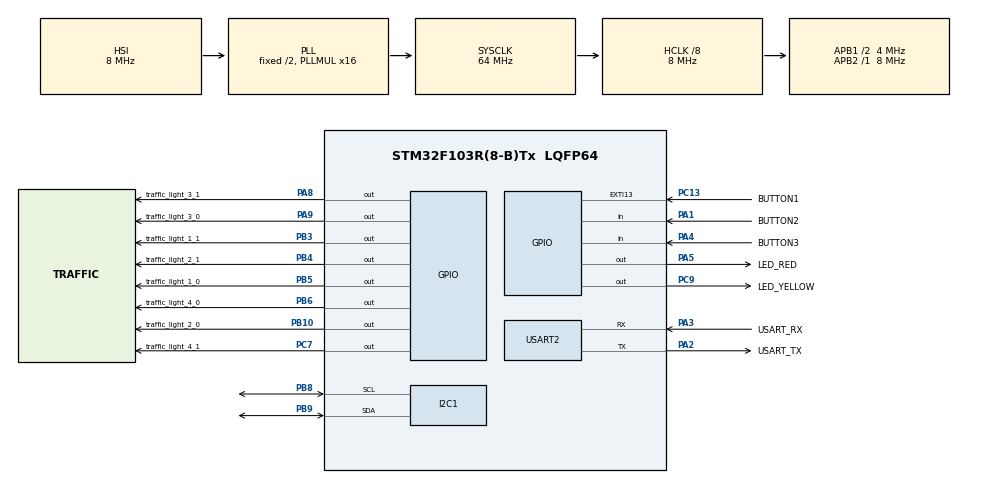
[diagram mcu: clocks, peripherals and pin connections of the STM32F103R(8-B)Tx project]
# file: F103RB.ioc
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Mcu.Family=STM32F1
Mcu.Name=STM32F103R(8-B)Tx
Mcu.Package=LQFP64
NVIC.EXTI15_10_IRQn=true\:0\:0\:false\:false\:true\:true\:true
NVIC.I2C1_ER_IRQn=true\:0\:0\:false\:false\:true\:true\:true
NVIC.I2C1_EV_IRQn=true\:0\:0\:false\:false\:true\:true\:true
NVIC.PriorityGroup=NVIC_PRIORITYGROUP_4
NVIC.TIM2_IRQn=true\:0\:0\:false\:false\:true\:true\:true
PA1.GPIO_Label=BUTTON2
PA1.GPIO_PuPd=GPIO_PULLUP
PA1.Signal=GPIO_Input
PA13.GPIO_Label=TMS
PA13.Mode=Serial_Wire
PA13.Signal=SYS_JTMS-SWDIO
PA14.GPIO_Label=TCK
PA14.Mode=Serial_Wire
PA14.Signal=SYS_JTCK-SWCLK
PA2.GPIO_Label=USART_TX
PA2.GPIO_Mode=GPIO_MODE_AF_PP
PA2.GPIO_PuPd=GPIO_NOPULL
PA2.GPIO_Speed=GPIO_SPEED_FREQ_LOW
PA2.Mode=Asynchronous
PA2.Signal=USART2_TX
PA3.GPIO_Label=USART_RX
PA3.GPIO_Mode=GPIO_MODE_AF_PP
PA3.GPIO_PuPd=GPIO_NOPULL
PA3.GPIO_Speed=GPIO_SPEED_FREQ_LOW
PA3.Mode=Asynchronous
PA3.Signal=USART2_RX
PA4.GPIO_Label=BUTTON3
PA4.GPIO_PuPd=GPIO_PULLUP
PA4.Signal=GPIO_Input
PA5.GPIO_Label=LED_RED
PA5.GPIO_ModeDefaultOutputPP=GPIO_MODE_OUTPUT_PP
PA5.GPIO_PuPd=GPIO_NOPULL
PA5.GPIO_Speed=GPIO_SPEED_FREQ_LOW
PA5.Signal=GPIO_Output
PA8.GPIO_Label=traffic_light_3_1
PA8.Signal=GPIO_Output
PA9.GPIO_Label=traffic_light_3_0
PA9.Signal=GPIO_Output
PB10.GPIO_Label=traffic_light_2_0
PB10.Signal=GPIO_Output
PB3.GPIO_Label=traffic_light_1_1
PB3.Signal=GPIO_Output
PB4.GPIO_Label=traffic_light_2_1
PB4.Signal=GPIO_Output
PB5.GPIO_Label=traffic_light_1_0
PB5.Signal=GPIO_Output
PB6.GPIO_Label=traffic_light_4_0
PB6.Signal=GPIO_Output
PB8.Mode=I2C
PB8.Signal=I2C1_SCL
PB9.Mode=I2C
PB9.Signal=I2C1_SDA
PC13-TAMPER-RTC.GPIO_Label=BUTTON1
PC13-TAMPER-RTC.GPIO_PuPd=GPIO_PULLUP
PC13-TAMPER-RTC.Signal=GPXTI13
PC14-OSC32_IN.Mode=LSE-External-Oscillator
PC14-OSC32_IN.Signal=RCC_OSC32_IN
PC15-OSC32_OUT.Mode=LSE-External-Oscillator
PC15-OSC32_OUT.Signal=RCC_OSC32_OUT
PC7.GPIO_Label=traffic_light_4_1
PC7.Signal=GPIO_Output
PC9.GPIO_Label=LED_YELLOW
PC9.Signal=GPIO_Output
PD0-OSC_IN.Mode=HSE-External-Clock-Source
PD0-OSC_IN.Signal=RCC_OSC_IN
PD1-OSC_OUT.Mode=HSE-External-Clock-Source
PD1-OSC_OUT.Signal=RCC_OSC_OUT
ProjectManager.HeapSize=0x200
ProjectManager.StackSize=0x400
ProjectManager.TargetToolchain=STM32CubeIDE
RCC.AHBCLKDivider=RCC_SYSCLK_DIV8
RCC.AHBFreq_Value=8000000
RCC.APB1CLKDivider=RCC_HCLK_DIV2
RCC.APB1Freq_Value=4000000
RCC.APB1TimFreq_Value=8000000
RCC.APB2Freq_Value=8000000
RCC.APB2TimFreq_Value=8000000
RCC.HCLKFreq_Value=8000000
RCC.PLLMUL=RCC_PLL_MUL16
RCC.RTCClockSelection=RCC_RTCCLKSOURCE_LSE
RCC.SYSCLKFreq_VALUE=64000000
RCC.SYSCLKSource=RCC_SYSCLKSOURCE_PLLCLK
RCC.USBFreq_Value=64000000
TIM2.Period=9
TIM2.Prescaler=7999
USART2.VirtualMode=VM_ASYNC
VP_TIM2_VS_ClockSourceINT.Mode=Internal
board=NUCLEO-F103RB

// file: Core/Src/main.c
/* USER CODE BEGIN Header */
/**
  ******************************************************************************
  * @file           : main.c
  * @brief          : Main program body
  ******************************************************************************
  * @attention
  *
  * <h2><center>&copy; Copyright (c) 2024 STMicroelectronics.
  * All rights reserved.</center></h2>
  *
  * This software component is licensed by ST under BSD 3-Clause license,
  * the "License"; You may not use this file except in compliance with the
  * License. You may obtain a copy of the License at:
  *                        opensource.org/licenses/BSD-3-Clause
  *
  ******************************************************************************
  */
/* USER CODE END Header */
#include "main.h"

/* USER CODE BEGIN Includes */
#include "global.h"
#include "scheduler.h"
#include "timer.h"
#include "button.h"
#include "i2c-lcd.h"
#include "display_time.h"
#include "light_traffic.h"
#include "fsm_automatic.h"
#include "fsm_edit.h"
#include "fsm_manual.h"
#include "fsm_save_value.h"
#include "fsm_setting.h"
/* USER CODE END Includes */

I2C_HandleTypeDef hi2c1;

TIM_HandleTypeDef htim2;

UART_HandleTypeDef huart2;

void SystemClock_Config(void);
static void MX_GPIO_Init(void);
static void MX_USART2_UART_Init(void);
static void MX_TIM2_Init(void);
static void MX_I2C1_Init(void);

int main(void)
{

  /* MCU Configuration--------------------------------------------------------*/

  /* Reset of all peripherals, Initializes the Flash interface and the Systick. */
  HAL_Init();

  /* Configure the system clock */
  SystemClock_Config();

  /* Initialize all configured peripherals */
  MX_GPIO_Init();
  MX_USART2_UART_Init();
  MX_TIM2_Init();
  MX_I2C1_Init();
  /* USER CODE BEGIN 2 */
HAL_TIM_Base_Start_IT(&htim2);
  /* USER CODE END 2 */

  /* Infinite loop */
  /* USER CODE BEGIN WHILE */
// Khởi tạo LCD
   lcd_init();
   lcd_clear_display();  // Xóa màn hình LCD
   // Hiển thị thông tin lên LCD

   SCH_Add_Task(blinky_led, 100, 100);
   SCH_Add_Task(fsm_automatic_run, 100, 100);
   SCH_Add_Task(fsm_edit_run, 100, 100);
   SCH_Add_Task(fsm_manual_run, 100, 100);
   SCH_Add_Task(fsm_save_value_run, 100, 100);
   SCH_Add_Task(fsm_setting_run, 100, 100);

  while (1)
  {
	  SCH_Dispatch_Tasks();

    /* USER CODE END WHILE */

  }
}

void SystemClock_Config(void)
{
  RCC_OscInitTypeDef RCC_OscInitStruct = {0};
  RCC_ClkInitTypeDef RCC_ClkInitStruct = {0};

  /** Initializes the RCC Oscillators according to the specified parameters
  * in the RCC_OscInitTypeDef structure.
  */
  RCC_OscInitStruct.OscillatorType = RCC_OSCILLATORTYPE_HSI;
  RCC_OscInitStruct.HSIState = RCC_HSI_ON;
  RCC_OscInitStruct.HSICalibrationValue = RCC_HSICALIBRATION_DEFAULT;
  RCC_OscInitStruct.PLL.PLLState = RCC_PLL_ON;
  RCC_OscInitStruct.PLL.PLLSource = RCC_PLLSOURCE_HSI_DIV2;
  RCC_OscInitStruct.PLL.PLLMUL = RCC_PLL_MUL16;
  if (HAL_RCC_OscConfig(&RCC_OscInitStruct) != HAL_OK)
  {
    Error_Handler();
  }
  /** Initializes the CPU, AHB and APB buses clocks
  */
  RCC_ClkInitStruct.ClockType = RCC_CLOCKTYPE_HCLK|RCC_CLOCKTYPE_SYSCLK
                              |RCC_CLOCKTYPE_PCLK1|RCC_CLOCKTYPE_PCLK2;
  RCC_ClkInitStruct.SYSCLKSource = RCC_SYSCLKSOURCE_PLLCLK;
  RCC_ClkInitStruct.AHBCLKDivider = RCC_SYSCLK_DIV8;
  RCC_ClkInitStruct.APB1CLKDivider = RCC_HCLK_DIV2;
  RCC_ClkInitStruct.APB2CLKDivider = RCC_HCLK_DIV1;

  if (HAL_RCC_ClockConfig(&RCC_ClkInitStruct, FLASH_LATENCY_2) != HAL_OK)
  {
    Error_Handler();
  }
}

static void MX_I2C1_Init(void)
{

  hi2c1.Instance = I2C1;
  hi2c1.Init.ClockSpeed = 100000;
  hi2c1.Init.DutyCycle = I2C_DUTYCYCLE_2;
  hi2c1.Init.OwnAddress1 = 0;
  hi2c1.Init.AddressingMode = I2C_ADDRESSINGMODE_7BIT;
  hi2c1.Init.DualAddressMode = I2C_DUALADDRESS_DISABLE;
  hi2c1.Init.OwnAddress2 = 0;
  hi2c1.Init.GeneralCallMode = I2C_GENERALCALL_DISABLE;
  hi2c1.Init.NoStretchMode = I2C_NOSTRETCH_DISABLE;
  if (HAL_I2C_Init(&hi2c1) != HAL_OK)
  {
    Error_Handler();
  }

}

static void MX_TIM2_Init(void)
{

  TIM_ClockConfigTypeDef sClockSourceConfig = {0};
  TIM_MasterConfigTypeDef sMasterConfig = {0};

  htim2.Instance = TIM2;
  htim2.Init.Prescaler = 7999;
  htim2.Init.CounterMode = TIM_COUNTERMODE_UP;
  htim2.Init.Period = 9;
  htim2.Init.ClockDivision = TIM_CLOCKDIVISION_DIV1;
  htim2.Init.AutoReloadPreload = TIM_AUTORELOAD_PRELOAD_DISABLE;
  if (HAL_TIM_Base_Init(&htim2) != HAL_OK)
  {
    Error_Handler();
  }
  sClockSourceConfig.ClockSource = TIM_CLOCKSOURCE_INTERNAL;
  if (HAL_TIM_ConfigClockSource(&htim2, &sClockSourceConfig) != HAL_OK)
  {
    Error_Handler();
  }
  sMasterConfig.MasterOutputTrigger = TIM_TRGO_RESET;
  sMasterConfig.MasterSlaveMode = TIM_MASTERSLAVEMODE_DISABLE;
  if (HAL_TIMEx_MasterConfigSynchronization(&htim2, &sMasterConfig) != HAL_OK)
  {
    Error_Handler();
  }

}

static void MX_USART2_UART_Init(void)
{

  huart2.Instance = USART2;
  huart2.Init.BaudRate = 115200;
  huart2.Init.WordLength = UART_WORDLENGTH_8B;
  huart2.Init.StopBits = UART_STOPBITS_1;
  huart2.Init.Parity = UART_PARITY_NONE;
  huart2.Init.Mode = UART_MODE_TX_RX;
  huart2.Init.HwFlowCtl = UART_HWCONTROL_NONE;
  huart2.Init.OverSampling = UART_OVERSAMPLING_16;
  if (HAL_UART_Init(&huart2) != HAL_OK)
  {
    Error_Handler();
  }

}

static void MX_GPIO_Init(void)
{
  GPIO_InitTypeDef GPIO_InitStruct = {0};

  /* GPIO Ports Clock Enable */
  __HAL_RCC_GPIOC_CLK_ENABLE();
  __HAL_RCC_GPIOD_CLK_ENABLE();
  __HAL_RCC_GPIOA_CLK_ENABLE();
  __HAL_RCC_GPIOB_CLK_ENABLE();

  /*Configure GPIO pin Output Level */
  HAL_GPIO_WritePin(GPIOA, LED_RED_Pin|traffic_light_3_1_Pin|traffic_light_3_0_Pin, GPIO_PIN_RESET);

  /*Configure GPIO pin Output Level */
  HAL_GPIO_WritePin(GPIOB, traffic_light_2_0_Pin|traffic_light_1_1_Pin|traffic_light_2_1_Pin|traffic_light_1_0_Pin
                          |traffic_light_4_0_Pin, GPIO_PIN_RESET);

  /*Configure GPIO pin Output Level */
  HAL_GPIO_WritePin(GPIOC, traffic_light_4_1_Pin|LED_YELLOW_Pin, GPIO_PIN_RESET);

  /*Configure GPIO pin : BUTTON1_Pin */
  GPIO_InitStruct.Pin = BUTTON1_Pin;
  GPIO_InitStruct.Mode = GPIO_MODE_IT_RISING;
  GPIO_InitStruct.Pull = GPIO_PULLUP;
  HAL_GPIO_Init(BUTTON1_GPIO_Port, &GPIO_InitStruct);

  /*Configure GPIO pins : BUTTON2_Pin BUTTON3_Pin */
  GPIO_InitStruct.Pin = BUTTON2_Pin|BUTTON3_Pin;
  GPIO_InitStruct.Mode = GPIO_MODE_INPUT;
  GPIO_InitStruct.Pull = GPIO_PULLUP;
  HAL_GPIO_Init(GPIOA, &GPIO_InitStruct);

  /*Configure GPIO pins : LED_RED_Pin traffic_light_3_1_Pin traffic_light_3_0_Pin */
  GPIO_InitStruct.Pin = LED_RED_Pin|traffic_light_3_1_Pin|traffic_light_3_0_Pin;
  GPIO_InitStruct.Mode = GPIO_MODE_OUTPUT_PP;
  GPIO_InitStruct.Pull = GPIO_NOPULL;
  GPIO_InitStruct.Speed = GPIO_SPEED_FREQ_LOW;
  HAL_GPIO_Init(GPIOA, &GPIO_InitStruct);

  /*Configure GPIO pins : traffic_light_2_0_Pin traffic_light_1_1_Pin traffic_light_2_1_Pin traffic_light_1_0_Pin
                           traffic_light_4_0_Pin */
  GPIO_InitStruct.Pin = traffic_light_2_0_Pin|traffic_light_1_1_Pin|traffic_light_2_1_Pin|traffic_light_1_0_Pin
                          |traffic_light_4_0_Pin;
  GPIO_InitStruct.Mode = GPIO_MODE_OUTPUT_PP;
  GPIO_InitStruct.Pull = GPIO_NOPULL;
  GPIO_InitStruct.Speed = GPIO_SPEED_FREQ_LOW;
  HAL_GPIO_Init(GPIOB, &GPIO_InitStruct);

  /*Configure GPIO pins : traffic_light_4_1_Pin LED_YELLOW_Pin */
  GPIO_InitStruct.Pin = traffic_light_4_1_Pin|LED_YELLOW_Pin;
  GPIO_InitStruct.Mode = GPIO_MODE_OUTPUT_PP;
  GPIO_InitStruct.Pull = GPIO_NOPULL;
  GPIO_InitStruct.Speed = GPIO_SPEED_FREQ_LOW;
  HAL_GPIO_Init(GPIOC, &GPIO_InitStruct);

  /* EXTI interrupt init*/
  HAL_NVIC_SetPriority(EXTI15_10_IRQn, 0, 0);
  HAL_NVIC_EnableIRQ(EXTI15_10_IRQn);

}

/* USER CODE BEGIN 4 */
void HAL_TIM_PeriodElapsedCallback(TIM_HandleTypeDef *htim){
	SCH_Update();
	getKeyInput();
}
/* USER CODE END 4 */

void Error_Handler(void)
{
  __disable_irq();
  while (1)
  {
  }
}

/************************ (C) COPYRIGHT STMicroelectronics *****END OF FILE****/
